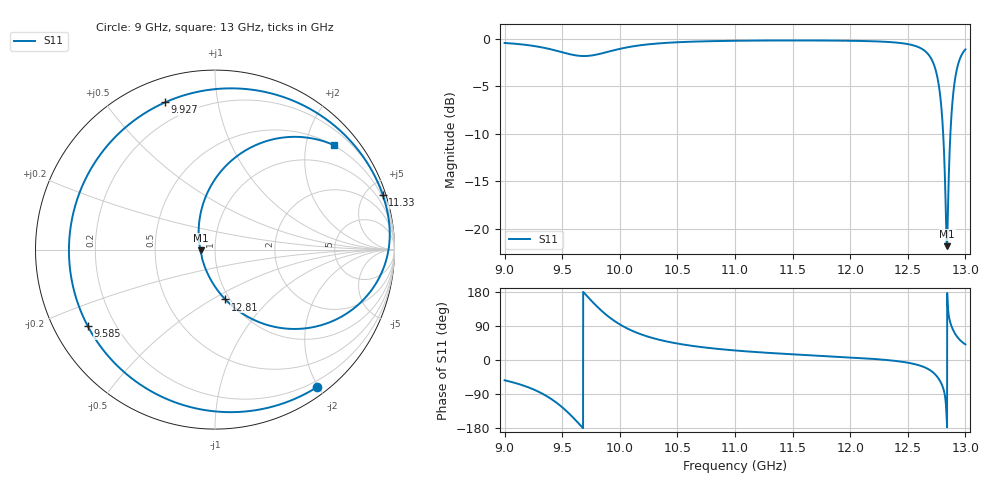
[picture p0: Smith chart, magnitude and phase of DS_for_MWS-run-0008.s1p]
! TOUCHSTONE file generated by CST DESIGN STUDIO
! Date and time: Tue Feb  4 18:00:59 2025
! Project name: C:\Work\MatlabApps\UnitCellOptimizationMatlab\CST\unitcell.cst
! Tree item: Tasks\Sweep1\SPara1\S-Parameters
! Header version: 2024
! Port assignment regex: !\s*Touchstone port\s*([0-9]+)\s*=\s*(CST MWS port|CST DES external port|CST DES block port)\s*(.+)\s* \(\"(.*)\"\)(\s*mode\s*([0-9]+))?.*
! Touchstone port assignment:
! Touchstone port 1 = CST DES external port 1 ("")
# GHz S MA R 50
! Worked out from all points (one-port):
!   4001 points, 9 GHz to 13 GHz, reference 50 ohm
!   lowest |S11| = -21.9 dB at 12.84 GHz (marker M1), VSWR 1.18, Z = 42.5 - j0.316 ohm
!   |S11| at or under -10 dB: 12.80713 GHz to 12.86973 GHz (62.6 MHz wide, 0.488 % of centre)
!   S11 on the Smith chart (normalised r, x): 9 GHz: 0.12, -1.98; 9.585 GHz: 0.10, -0.28; 9.927 GHz: 0.11, +0.71; 11.33 GHz: 0.35, +6.30; 12.81 GHz: 0.95, -0.58; 13 GHz: 0.49, +2.57
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9  0.9541 -53.5
9.168  0.9345 -67.9
9.32  0.9051 -87.6
9.5  0.852 -124.8
9.585  0.8273 -148.9
9.661  0.8148 -173.3
9.733  0.8162 162.9
9.832  0.8372 132.6
9.927  0.8663 108.7
10  0.888 94.0
10.223  0.9348 63.7
10.5  0.9623 43.4
11  0.9797 25.2
11.333  0.983 18.0
11.5  0.9835 15.0
12  0.9798 6.8
12.5  0.9409 -7.1
12.615  0.8932 -15.7
12.692  0.809 -26.7
12.769  0.5711 -49.9
12.811  0.284 -78.2
12.828  0.1373 -108.0
12.841  0.08067 -177.4
12.852  0.1538 126.0
12.878  0.3885 90.3
12.902  0.5664 74.0
12.94  0.7483 56.9
13  0.8822 41.3
